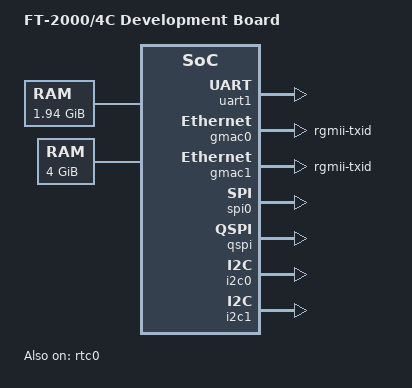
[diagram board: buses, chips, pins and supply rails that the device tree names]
// SPDX-License-Identifier: GPL-2.0
/*
 * DTS file for Phytium D2000 devboard
 *
 * Copyright (C) 2020, Phytium Technology Co., Ltd.
 */

/dts-v1/;
/memreserve/ 0x80000000 0x10000;

#include "ft2004c-generic-psci-soc.dtsi"

/{
	model = "FT-2000/4C Development Board";
	compatible = "phytium,ft-2004c";
	#address-cells = <2>;
	#size-cells = <2>;

	chosen {
		stdout-path = "uart1:115200n8";
	};

	memory@00{
		device_type = "memory";
		/* 4GiB-64MiB ~ 4GiB is reserved for PBF runtime */
		reg = <0x0 0x80000000 0x0 0x7c000000>;
	};

	memory@01{
		device_type = "memory";
		reg = <0x20 0x00000000 0x1 0x00000000>;
	};

	firmware {
		optee {
			compatible = "linaro,optee-tz";
			method = "smc";
		};
	};
};

&rtc0 {
	status = "ok";
};

&uart1 {
	status = "ok";
};

&gmac0 {
	status = "ok";
	phy-mode = "rgmii-txid";
};

&gmac1 {
	status = "ok";
	phy-mode = "rgmii-txid";
};

&spi0 {
	status = "ok";
};

&qspi {
	status = "ok";
};

&i2c0 {
	status = "ok";
};

&i2c1 {
	status = "ok";
};
